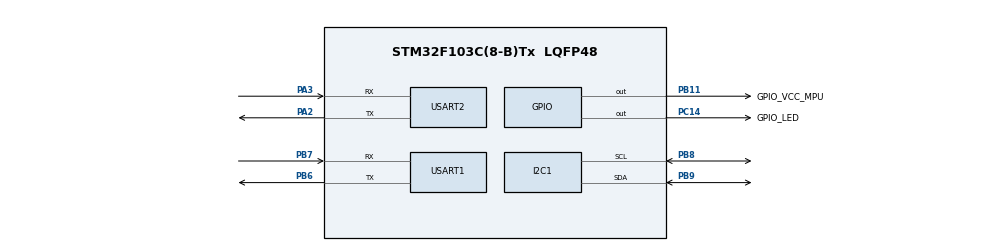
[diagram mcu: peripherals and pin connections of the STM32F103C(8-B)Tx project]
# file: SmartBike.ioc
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Mcu.Family=STM32F1
Mcu.Name=STM32F103C(8-B)Tx
Mcu.Package=LQFP48
NVIC.I2C1_ER_IRQn=true\:0\:0\:false\:false\:true\:true\:true
NVIC.I2C1_EV_IRQn=true\:0\:0\:false\:false\:true\:true\:true
NVIC.PriorityGroup=NVIC_PRIORITYGROUP_4
PA13.Mode=Serial_Wire
PA13.Signal=SYS_JTMS-SWDIO
PA14.Mode=Serial_Wire
PA14.Signal=SYS_JTCK-SWCLK
PA2.Mode=Asynchronous
PA2.Signal=USART2_TX
PA3.Mode=Asynchronous
PA3.Signal=USART2_RX
PB11.GPIO_Label=GPIO_VCC_MPU
PB11.GPIO_PuPd=GPIO_PULLUP
PB11.PinState=GPIO_PIN_SET
PB11.Signal=GPIO_Output
PB6.Mode=Asynchronous
PB6.Signal=USART1_TX
PB7.Mode=Asynchronous
PB7.Signal=USART1_RX
PB8.GPIO_Mode=GPIO_MODE_AF_OD
PB8.Mode=I2C
PB8.Signal=I2C1_SCL
PB9.GPIO_Mode=GPIO_MODE_AF_OD
PB9.GPIO_Speed=GPIO_SPEED_FREQ_HIGH
PB9.Mode=I2C
PB9.Signal=I2C1_SDA
PC14-OSC32_IN.GPIO_Label=GPIO_LED
PC14-OSC32_IN.Signal=GPIO_Output
ProjectManager.HeapSize=0x200
ProjectManager.StackSize=0x400
ProjectManager.TargetToolchain=STM32CubeIDE
RCC.APB1Freq_Value=8000000
RCC.APB2Freq_Value=8000000
USART1.VirtualMode=VM_ASYNC
USART2.VirtualMode=VM_ASYNC
board=custom

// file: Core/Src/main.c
/* USER CODE BEGIN Header */
/**
  ******************************************************************************
  * @file           : main.c
  * @brief          : Main program body
  ******************************************************************************
  * @attention
  *
  * <h2><center>&copy; Copyright (c) 2021 STMicroelectronics.
  * All rights reserved.</center></h2>
  *
  * This software component is licensed by ST under BSD 3-Clause license,
  * the "License"; You may not use this file except in compliance with the
  * License. You may obtain a copy of the License at:
  *                        opensource.org/licenses/BSD-3-Clause
  *
  ******************************************************************************
  */
/* USER CODE END Header */
#include "main.h"
#include "i2c.h"
#include "usart.h"
#include "gpio.h"

/* USER CODE BEGIN Includes */
#include "driver_mpu6050.h"
#include "interface_os.h"
#include "sigma_log.h"
/* USER CODE END Includes */

/* USER CODE BEGIN PD */
#ifdef __GNUC__
#define PUTCHAR_PROTOTYPE int __io_putchar(int ch)
#else
#define PUTCHAR_PROTOTYPE int fputc(int ch, FILE *f)
#endif
/* USER CODE END PD */

/* USER CODE BEGIN PV */
PUTCHAR_PROTOTYPE
{
    HAL_UART_Transmit(&huart2 , (uint8_t *)&ch, 1, 0xFFFF);
    return ch;
}
/* USER CODE END PV */

void SystemClock_Config(void);

int main(void)
{

  /* MCU Configuration--------------------------------------------------------*/

  /* Reset of all peripherals, Initializes the Flash interface and the Systick. */
  HAL_Init();

  /* Configure the system clock */
  SystemClock_Config();

  /* Initialize all configured peripherals */
  MX_GPIO_Init();
  MX_I2C1_Init();
  MX_USART1_UART_Init();
  MX_USART2_UART_Init();
  /* USER CODE BEGIN 2 */
  mpu6050_init();
  /* USER CODE END 2 */

  /* Infinite loop */
  /* USER CODE BEGIN WHILE */
  while (1)
  {
	  mpu6050_update();
      uint8_t buffer[1 + 1 + 4 + 1 + 6 + 6 + 2 + 1] = {0};

      int pos = 0;
      buffer[pos++] = 0xaa;
      buffer[pos++] = 6 + 6 + 2;
      *(uint32_t *)(buffer + pos) = os_ticks();
      pos += 4;
      int i = 0;
      buffer[pos] = 0;
      for (i = 0; i < (1 + 1 + 4); i++)
          buffer[pos] += buffer[i];
      pos++;

      if (mpu6050_motion(buffer + pos, buffer + pos + 6, buffer + pos + 6 + 6))
          continue;
      SigmaLogAction(0, 0, "accel:%d %d %d gyro:%d %d %d temp:%d",
              *(int16_t *)(buffer + pos + 0),
              *(int16_t *)(buffer + pos + 2),
              *(int16_t *)(buffer + pos + 4),
              *(int16_t *)(buffer + pos + 6),
              *(int16_t *)(buffer + pos + 7),
              *(int16_t *)(buffer + pos + 10),
              *(int16_t *)(buffer + pos + 12));
      pos += 6 + 6 + 2;

      buffer[pos] = 0;
      for (i = 0; i < 6 + 6 + 2; i++)
          buffer[pos] += buffer[1 + 1 + 4 + 1 + i];
      pos++;

      HAL_UART_Transmit(&huart1, buffer, pos, 0xFFFF);
      os_sleep(20);
    /* USER CODE END WHILE */

  }
}

void SystemClock_Config(void)
{
  RCC_OscInitTypeDef RCC_OscInitStruct = {0};
  RCC_ClkInitTypeDef RCC_ClkInitStruct = {0};

  /** Initializes the RCC Oscillators according to the specified parameters
  * in the RCC_OscInitTypeDef structure.
  */
  RCC_OscInitStruct.OscillatorType = RCC_OSCILLATORTYPE_HSI;
  RCC_OscInitStruct.HSIState = RCC_HSI_ON;
  RCC_OscInitStruct.HSICalibrationValue = RCC_HSICALIBRATION_DEFAULT;
  RCC_OscInitStruct.PLL.PLLState = RCC_PLL_NONE;
  if (HAL_RCC_OscConfig(&RCC_OscInitStruct) != HAL_OK)
  {
    Error_Handler();
  }
  /** Initializes the CPU, AHB and APB buses clocks
  */
  RCC_ClkInitStruct.ClockType = RCC_CLOCKTYPE_HCLK|RCC_CLOCKTYPE_SYSCLK
                              |RCC_CLOCKTYPE_PCLK1|RCC_CLOCKTYPE_PCLK2;
  RCC_ClkInitStruct.SYSCLKSource = RCC_SYSCLKSOURCE_HSI;
  RCC_ClkInitStruct.AHBCLKDivider = RCC_SYSCLK_DIV1;
  RCC_ClkInitStruct.APB1CLKDivider = RCC_HCLK_DIV1;
  RCC_ClkInitStruct.APB2CLKDivider = RCC_HCLK_DIV1;

  if (HAL_RCC_ClockConfig(&RCC_ClkInitStruct, FLASH_LATENCY_0) != HAL_OK)
  {
    Error_Handler();
  }
}

void Error_Handler(void)
{
  __disable_irq();
  while (1)
  {
  }
}

/************************ (C) COPYRIGHT STMicroelectronics *****END OF FILE****/
